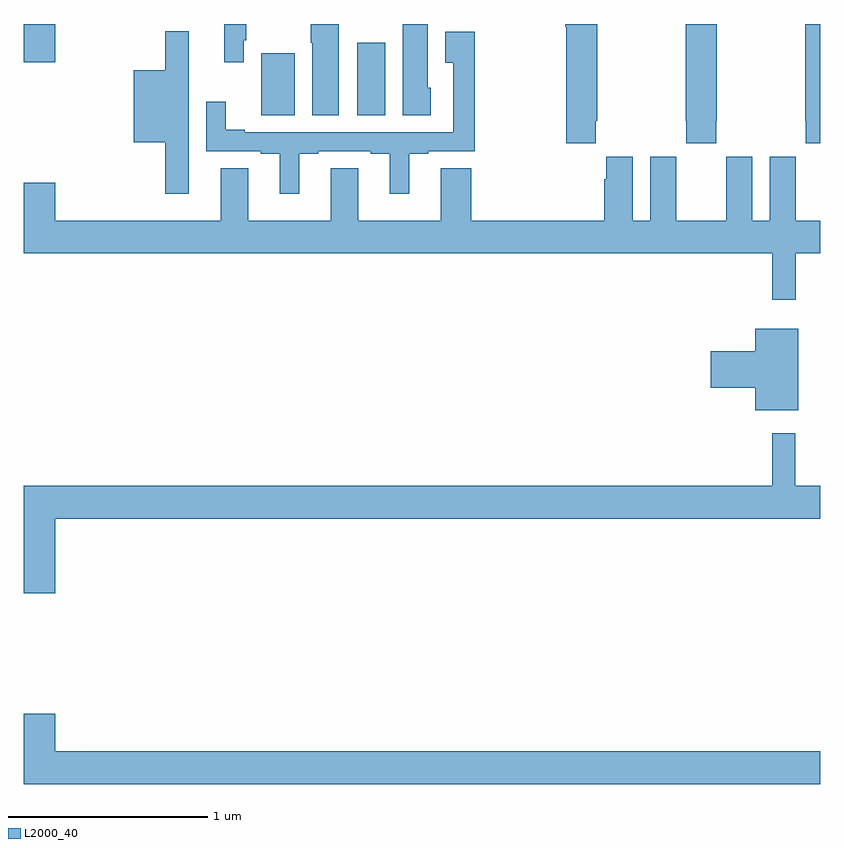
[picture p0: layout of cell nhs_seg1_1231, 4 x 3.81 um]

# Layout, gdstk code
import gdstk
lib = gdstk.Library(unit=1e-6, precision=1e-09)
def R(c, l, rs):  # rectangles x0, y0, x1, y1
    for r in rs: c.add(gdstk.rectangle(r[:2], r[2:], *l))
def P(c, l, *ps):  # polygons
    for p in ps: c.add(gdstk.Polygon(p, *l))
L2000_40 = (2000, 40)

nhs_seg1_1231 = lib.new_cell('nhs_seg1_1231')
R(nhs_seg1_1231, L2000_40, [(178.193,569.74,178.36,570.052), (178.676,569.74,178.816,570.106), (177,570.006,177.16,570.199)])
P(nhs_seg1_1231, L2000_40, [(178.104,570.118),(178.117,570.118),(178.117,570.199),(178.007,570.199),(178.007,570.006),(178.104,570.006)],
  [(178.582,570.199),(178.441,570.199),(178.441,570.104),(178.448,570.104),(178.448,569.74),(178.582,569.74)],
  [(179.044,569.88),(179.029,569.88),(179.029,570.199),(178.904,570.199),(178.904,569.74),(179.044,569.74)],
  [(181,570.199),(180.925,570.199),(180.925,569.713),(180.927,569.713),(180.927,569.601),(181,569.601)],
  [(180.477,569.713),(180.48,569.713),(180.48,570.199),(180.325,570.199),(180.325,569.713),(180.327,569.713),(180.327,569.601),(180.477,569.601)],
  [(179.873,569.713),(179.88,569.713),(179.88,570.199),(179.72,570.199),(179.72,570.184),(179.725,570.184),(179.725,569.601),(179.873,569.601)],
  [(177.828,569.796),(177.83,569.796),(177.83,570.163),(177.712,570.163),(177.712,569.968),(177.554,569.968),(177.554,569.606),(177.712,569.606),(177.712,569.346),(177.828,569.346)],
  [(178.384,569.547),(178.48,569.547),(178.48,569.559),(178.742,569.559),(178.742,569.547),(178.838,569.547),(178.838,569.346),(178.936,569.346),(178.936,569.547),(179.032,569.547),(179.032,569.559),(179.266,569.559),(179.266,570.16),(179.117,570.16),(179.117,570.004),(179.157,570.004),(179.157,569.655),(178.111,569.655),(178.111,569.668),(178.015,569.668),(178.015,569.809),(177.918,569.809),(177.918,569.559),(178.19,569.559),(178.19,569.547),(178.286,569.547),(178.286,569.346),(178.384,569.346)],
  [(180.875,569.048),(181,569.048),(181,569.212),(180.877,569.212),(180.877,569.42),(180.876,569.42),(180.876,569.533),(180.746,569.533),(180.746,569.212),(180.658,569.212),(180.658,569.533),(180.528,569.533),(180.528,569.42),(180.527,569.42),(180.527,569.212),(180.277,569.212),(180.277,569.42),(180.276,569.42),(180.276,569.533),(180.146,569.533),(180.146,569.212),(180.058,569.212),(180.058,569.533),(179.924,569.533),(179.924,569.42),(179.915,569.42),(179.915,569.212),(179.246,569.212),(179.246,569.474),(179.093,569.474),(179.093,569.212),(178.681,569.212),(178.681,569.474),(178.541,569.474),(178.541,569.212),(178.129,569.212),(178.129,569.474),(177.989,569.474),(177.989,569.212),(177.16,569.212),(177.16,569.401),(177,569.401),(177,569.048),(180.757,569.048),(180.757,568.815),(180.875,568.815)],
  [(180.889,568.669),(180.674,568.669),(180.674,568.556),(180.45,568.556),(180.45,568.373),(180.674,568.373),(180.674,568.259),(180.889,568.259)],
  [(177.16,567.716),(181,567.716),(181,567.88),(180.874,567.88),(180.874,568.144),(180.757,568.144),(180.757,567.88),(177,567.88),(177,567.342),(177.16,567.342)],
  [(181,566.548),(177.16,566.548),(177.16,566.737),(177,566.737),(177,566.384),(181,566.384)])

lib.write_gds('nhs_seg1_1231.gds')
